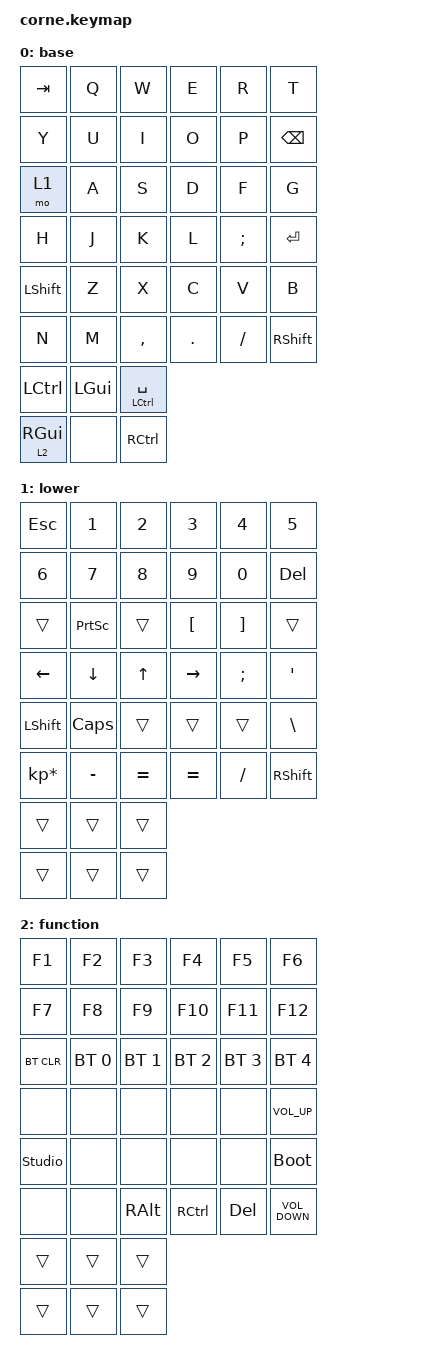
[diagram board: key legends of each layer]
#include <behaviors.dtsi>
#include <dt-bindings/zmk/keys.h>
#include <dt-bindings/zmk/bt.h>

/ {
    keymap {
        compatible = "zmk,keymap";

        base {
            bindings = <
                &kp TAB    &kp Q    &kp W    &kp E    &kp R    &kp T
                &kp Y      &kp U    &kp I    &kp O    &kp P    &kp BSPC

                &mo 1      &kp A    &kp S    &kp D    &kp F    &kp G
                &kp H      &kp J    &kp K    &kp L    &kp SEMI &kp ENTER

                &kp LSHFT  &kp Z    &kp X    &kp C    &kp V    &kp B
                &kp N      &kp M    &kp COMMA &kp DOT &kp FSLH &kp RSHFT

                &kp LCTRL  &kp LGUI &mt LCTRL SPACE
                &lt 2 RGUI &none    &kp RCTRL
            >;
        };

        lower {
            bindings = <
                &kp ESC    &kp N1          &kp N2    &kp N3    &kp N4    &kp N5
                &kp N6     &kp N7          &kp N8    &kp N9    &kp N0    &kp DEL

                &trans     &kp PRINTSCREEN &trans    &kp LBKT  &kp RBKT  &trans
                &kp LEFT   &kp DOWN        &kp UP    &kp RIGHT &kp SEMI  &kp SQT

                &kp LSHFT  &kp CAPSLOCK    &trans    &trans    &trans    &kp BSLH
                &kp KP_MULTIPLY &kp MINUS  &kp EQUAL &kp EQUAL &kp FSLH &kp RSHFT

                &trans &trans &trans
                &trans &trans &trans
            >;
        };

        function {
            bindings = <
                &kp F1   &kp F2   &kp F3   &kp F4   &kp F5   &kp F6
                &kp F7   &kp F8   &kp F9   &kp F10  &kp F11  &kp F12

                &bt BT_CLR   &bt BT_SEL 0 &bt BT_SEL 1
                &bt BT_SEL 2 &bt BT_SEL 3 &bt BT_SEL 4

                &none &none &none &none &none &kp C_VOLUME_UP

                &studio_unlock &none &none &none &none &bootloader
                &none &none &kp RALT &kp RCTRL &kp DEL &kp C_VOLUME_DOWN

                &trans &trans &trans
                &trans &trans &trans
            >;
        };
    };
};
